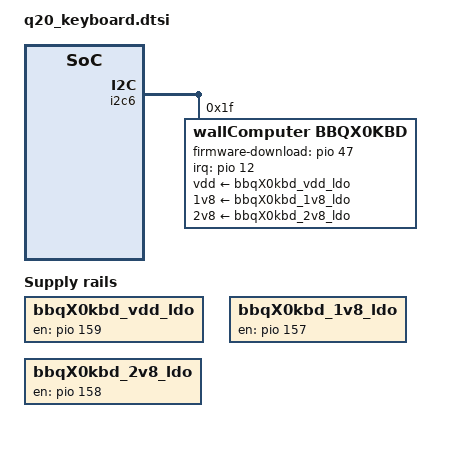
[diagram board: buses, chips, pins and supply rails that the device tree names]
&odm {
	bbqX0kbd_vdd_ldo: fixed-regulator-2 {
		compatible = "regulator-fixed";
		regulator-name = "bbqX0kbd_vdd_ldo";
		gpio = <&pio 159 0>;
		enable-active-high;
	};

	bbqX0kbd_1v8_ldo: fixed-regulator-3 {
		compatible = "regulator-fixed";
		regulator-name = "bbqX0kbd_1v8_ldo";
		gpio = <&pio 157 0>;
		enable-active-high;
	};

	bbqX0kbd_2v8_ldo: fixed-regulator-4 {
		compatible = "regulator-fixed";
		regulator-name = "bbqX0kbd_2v8_ldo";
		gpio = <&pio 158 0>;
		enable-active-high;
	};
};

&i2c6 {
	bbqX0kbd@1f {
		compatible = "wallComputer,bbqX0kbd";
		reg = <0x1f>;
		interrupt-parent = <&pio>;
		interrupts = <12 IRQ_TYPE_EDGE_FALLING>;
		vdd-supply = <&bbqX0kbd_vdd_ldo>;
		1v8-supply = <&bbqX0kbd_1v8_ldo>;
		2v8-supply = <&bbqX0kbd_2v8_ldo>;
		firmware-download-gpios = <&pio 47 0>;
	};
};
